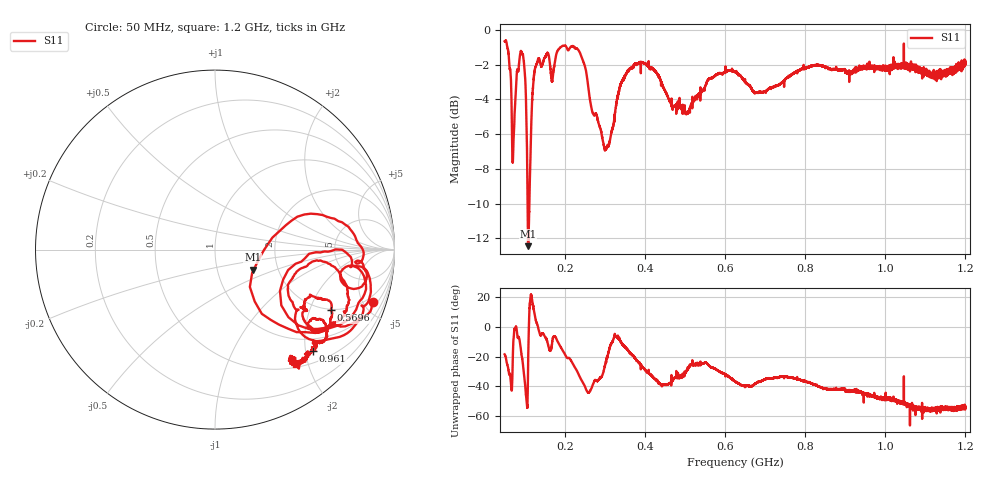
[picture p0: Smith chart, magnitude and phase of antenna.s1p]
! Calibrated high-resolution NanoVNA antenna measurement
# Hz S RI R 50
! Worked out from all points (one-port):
!   40001 points, 50 MHz to 1.2 GHz, reference 50 ohm
!   lowest |S11| = -12.5 dB at 108.5 MHz (marker M1), VSWR 1.63, Z = 74.1 - j17.6 ohm
!   |S11| at or under -10 dB: 107.2 MHz to 111.7 MHz (4.493 MHz wide, 4.1 % of centre); 111.729 MHz to 111.8182 MHz (89.26 kHz wide, 0.0799 % of centre)
!   S11 on the Smith chart (normalised r, x): 50 MHz: 1.37, -5.84; 569.6 MHz: 1.96, -2.84; 961 MHz: 0.72, -2.16; 1.2 GHz: 0.46, -1.84
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5e7  0.8807 -0.2941
6.279375e7  0.6588 -0.4024
7.0355e7  0.3848 -0.1546
7.854875e7  0.6792 0.00263
9.232e7  0.8134 -0.2781
1.01175e8  0.5702 -0.4586
1.085062e8  0.2103 -0.1121
1.12445e8  0.3349 0.0819
1.172175e8  0.5323 0.2006
1.302412e8  0.799 0.0348
1.608312e8  0.8116 -0.2081
1.684788e8  0.6987 -0.1346
1.9375e8  0.8677 -0.2373
2.2802e8  0.7804 -0.4217
2.5194e8  0.5844 -0.5088
2.98975e8  0.4068 -0.2136
3.375e8  0.6765 -0.105
3.764275e8  0.7462 -0.2935
4.242388e8  0.6293 -0.4367
4.8125e8  0.5104 -0.3384
5.6957e8  0.6477 -0.3374
6.25e8  0.6087 -0.4522
6.714312e8  0.5174 -0.4179
7.6875e8  0.6171 -0.4207
9.125e8  0.5525 -0.5086
9.6103e8  0.5473 -0.5658
1.05625e9  0.4782 -0.6205
1.2e9  0.4722 -0.6656
